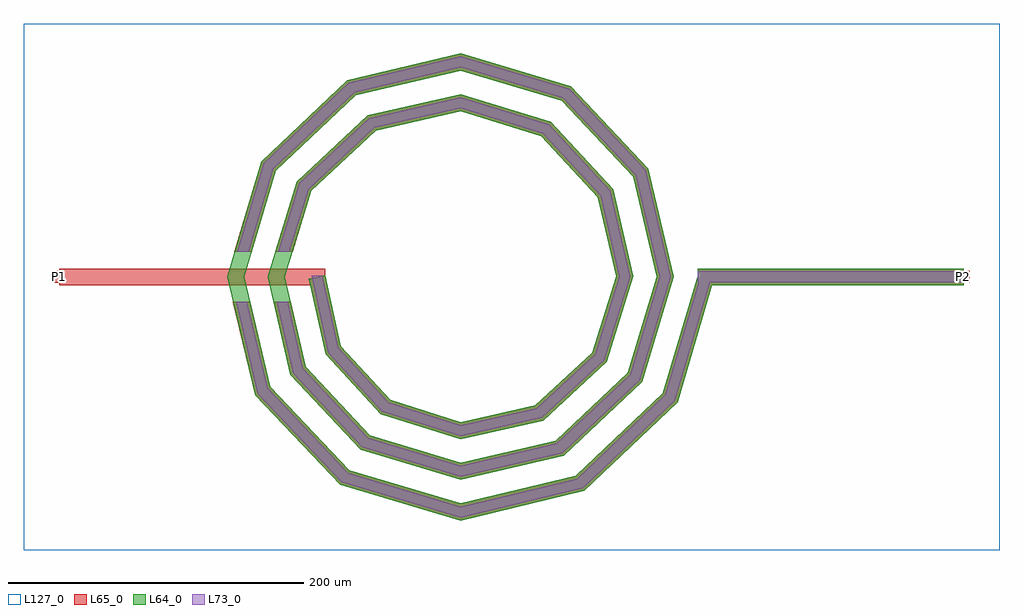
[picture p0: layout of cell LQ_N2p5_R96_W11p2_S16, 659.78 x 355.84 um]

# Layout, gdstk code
import gdstk
lib = gdstk.Library(unit=1e-6, precision=1e-09)
def R(c, l, rs):  # rectangles x0, y0, x1, y1
    for r in rs: c.add(gdstk.rectangle(r[:2], r[2:], *l))
def P(c, l, *ps):  # polygons
    for p in ps: c.add(gdstk.Polygon(p, *l))
L64_0 = (64, 0)
L65_0 = (65, 0)
L73_0 = (73, 0)
L127_0 = (127, 0)

lq_n2p5_r96_w11p2_s16 = lib.new_cell('LQ_N2p5_R96_W11p2_S16')
R(lq_n2p5_r96_w11p2_s16, L64_0, [(160.282,-5.6,340.282,5.6)])
P(lq_n2p5_r96_w11p2_s16, L64_0, [(-80.936,-47.017),(-47.736,-83.168),(0.238,-98.186),(50.441,-86.901),(89.117,-51.188),(105.064,0.224),(92.864,53.868),(54.638,95.066),(0.211,111.942),(-57.296,98.826),(-101.016,58.088),(-118.819,0.199),(-104.788,-60.725),(-61.536,-106.967),(0.189,-125.697),(64.155,-110.75),(112.919,-64.983),(132.575,0.179),(116.71,67.586),(68.43,118.871),(0.171,139.453),(-71.018,122.671),(-124.823,71.876),(-146.33,0.163),(-128.631,-74.451),(-75.321,-130.776),(0.156,-153.208),(77.884,-134.591),(136.729,-78.766),(160.512,1.589),(171.252,-1.589),(146.616,-84.824),(83.413,-144.783),(0.156,-164.8),(-81.391,-140.656),(-138.83,-79.968),(-157.921,0.163),(-134.696,77.958),(-76.522,132.877),(0.171,151.043),(74.525,128.735),(126.924,73.076),(144.165,0.179),(122.774,-71.094),(69.629,-120.972),(0.189,-137.287),(-67.663,-116.812),(-115.02,-66.181),(-130.408,0.199),(-110.85,64.233),(-62.733,109.069),(0.211,123.53),(60.805,104.887),(103.118,59.282),(116.652,0.224),(98.923,-57.377),(55.831,-97.169),(0.238,-109.773),(-53.951,-92.959),(-91.22,-52.378),(-102.569,-1.213),(-91.635,1.213)])
R(lq_n2p5_r96_w11p2_s16, L65_0, [(-271.502,-5.6,-91.502,5.6), (160.282,-5.6,340.282,5.6), (-275.502,-4,-267.502,4), (336.282,-4,344.282,4)])
P(lq_n2p5_r96_w11p2_s16, L65_0, [(-128.631,-74.451),(-75.321,-130.776),(0.156,-153.208),(77.884,-134.591),(136.729,-78.766),(160.512,1.589),(171.252,-1.589),(146.616,-84.824),(83.413,-144.783),(0.156,-164.8),(-81.391,-140.656),(-138.83,-79.968),(-153.88,-16.8),(-142.367,-16.8)],
  [(-104.788,-60.725),(-61.536,-106.967),(0.189,-125.697),(64.155,-110.75),(112.919,-64.983),(132.575,0.179),(116.71,67.586),(68.43,118.871),(0.171,139.453),(-71.018,122.671),(-124.823,71.876),(-141.266,16.8),(-152.955,16.8),(-134.696,77.958),(-76.523,132.877),(0.171,151.043),(74.526,128.735),(126.924,73.076),(144.165,0.179),(122.774,-71.094),(69.629,-120.972),(0.189,-137.287),(-67.663,-116.812),(-115.02,-66.181),(-126.468,-16.8),(-114.971,-16.8)],
  [(-47.736,-83.168),(0.238,-98.186),(50.441,-86.901),(89.117,-51.188),(105.064,0.224),(92.864,53.868),(54.639,95.066),(0.211,111.942),(-57.296,98.826),(-101.016,58.088),(-113.627,16.8),(-125.338,16.8),(-110.85,64.233),(-62.733,109.069),(0.211,123.53),(60.805,104.887),(103.118,59.283),(116.652,0.224),(98.923,-57.377),(55.831,-97.169),(0.238,-109.773),(-53.951,-92.959),(-91.22,-52.378),(-102.569,-1.213),(-91.635,1.213),(-80.937,-47.017)])
R(lq_n2p5_r96_w11p2_s16, L73_0, [(160.282,-3.6,340.282,3.6)])
P(lq_n2p5_r96_w11p2_s16, L73_0, [(-130.452,-75.436),(-76.405,-132.54),(0.1,-155.278),(78.871,-136.411),(138.495,-79.847),(162.43,1.022),(169.334,-1.022),(144.851,-83.742),(82.426,-142.963),(0.1,-162.73),(-80.307,-138.892),(-137.009,-78.983),(-151.824,-16.8),(-144.423,-16.8)],
  [(-106.615,-61.699),(-62.63,-108.725),(0.121,-127.767),(65.133,-112.575),(114.679,-66.075),(134.644,0.115),(118.534,68.567),(69.518,120.632),(0.11,141.522),(-72.001,124.493),(-126.586,72.962),(-143.353,16.8),(-150.867,16.8),(-132.933,76.872),(-75.54,131.054),(0.11,148.974),(73.437,126.974),(125.1,72.096),(142.095,0.115),(121.014,-70.003),(68.652,-119.147),(0.121,-135.217),(-66.569,-115.054),(-113.193,-65.207),(-124.415,-16.8),(-117.024,-16.8)],
  [(-48.846,-84.917),(0.153,-100.255),(51.404,-88.734),(90.868,-52.293),(107.133,0.144),(94.695,54.835),(55.74,96.82),(0.135,114.011),(-58.267,100.655),(-102.772,59.185),(-115.718,16.8),(-123.247,16.8),(-109.094,63.136),(-61.762,107.24),(0.135,121.461),(59.704,103.133),(101.287,58.316),(114.582,0.144),(97.172,-56.272),(54.869,-95.335),(0.153,-107.704),(-52.841,-91.21),(-89.383,-51.42),(-100.616,0.78),(-93.587,0.78),(-82.773,-47.974)])
R(lq_n2p5_r96_w11p2_s16, L127_0, [(-295.502,-184.8,364.282,171.043)])
lq_n2p5_r96_w11p2_s16.add(gdstk.Label('P2', (340.282,0), layer=65, texttype=0))
lq_n2p5_r96_w11p2_s16.add(gdstk.Label('P1', (-271.502,0), layer=65, texttype=0))
lq_n2p5_r96_w11p2_s16.add(gdstk.Label('P2', (344.282,0), layer=145, texttype=0))
lq_n2p5_r96_w11p2_s16.add(gdstk.Label('P1', (-275.502,0), layer=145, texttype=0))

lib.write_gds('LQ_N2p5_R96_W11p2_S16.gds')
